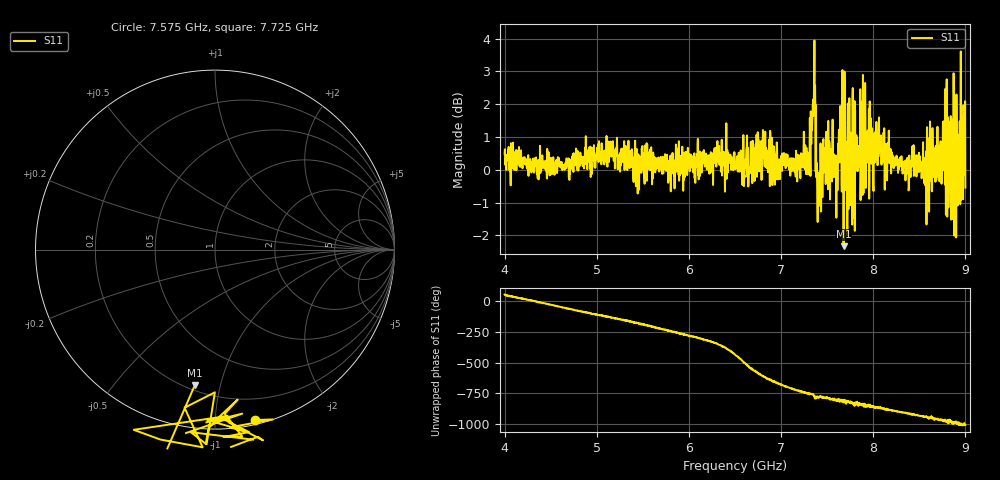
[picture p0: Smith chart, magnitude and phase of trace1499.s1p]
! Created with skrf 1.8.0 (http://scikit-rf.org).
# Hz S RI R 50.0
!freq ReS11 ImS11
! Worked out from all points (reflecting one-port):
!   1601 points, 4 GHz to 9 GHz, reference 50 ohm
!   lowest |S11| = -2.3 dB at 7.678 GHz (marker M1), VSWR 7.51, Z = 11.5 - j41.8 ohm
!   phase of S11 starts at 52 deg and turns -1058 deg over the sweep
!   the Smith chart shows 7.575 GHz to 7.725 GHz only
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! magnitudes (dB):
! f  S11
! 4 GHz  0.5
! 4.625 GHz  0.0
! 5.162 GHz  0.4
! 5.25 GHz  0.0
! 5.875 GHz  0.3
! 6.5 GHz  0.3
! 6.806 GHz  0.5
! 7.125 GHz  0.1
! 7.294 GHz  -0.1
! 7.347 GHz  1.9
! 7.366 GHz  2.0
! 7.4 GHz  -0.7
! 7.409 GHz  -0.6
! 7.503 GHz  -0.1
! 7.591 GHz  0.4
! 7.65 GHz  1.7
! 7.678 GHz  -2.3
! 7.75 GHz  0.4
! 7.775 GHz  2.2
! 7.8 GHz  -1.9
! 8.05 GHz  1.0
! 8.375 GHz  0.2
! 8.441 GHz  -0.2
! 8.581 GHz  0.6
! 8.775 GHz  1.1
! 8.869 GHz  -1.5
! 8.972 GHz  0.8
! 9 GHz  -0.5
